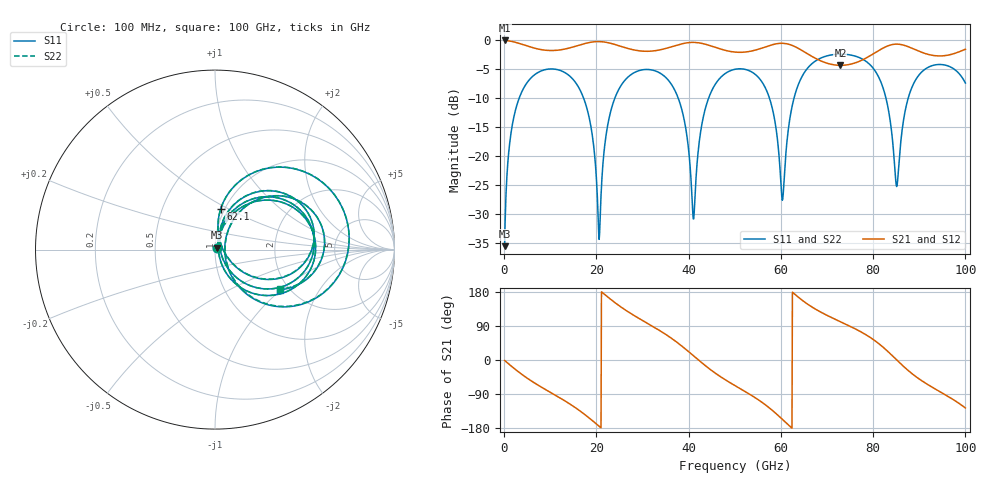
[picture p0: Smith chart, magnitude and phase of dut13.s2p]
! Touchstone file exported from HFSS 2026.1.0
!  File:  C:/ffzhzh/LocalFiles/Ansys_Project_Files/temp_train_TSV_RDL_13_1783437629_34316.aedt
!  Generated:  11:31:58 PM Jul  7, 2026
!  Design:  TSV_RDL
!  Project:  temp_train_TSV_RDL_13_1783437629_34316
! Variables:
!  h_bsmrdl = 4.47um
!  h_ox = 20um
!  h_rdl = 5um
!  h_sub = 82.31um
!  h_tmrdl = 2.99um
!  h_tsv = 82.31um
!  h_via = 3um
!  l_bsmrdl = 318.54um
!  l_sub = 2798.97um
!  l_tmrdl = 323.81um
!  m_sub = 200um
!  pitch = 59.9um
!  r_tsv = 6.9um
!  s_tmrdl = 10um
!  w_bsmrdl = 26.57um
!  w_sub = 500um
!  w_tmrdl = 22.8um
!  x_tsv_center1 = 335.21um
!  x_tsv_center2 = 680.32um
!  x_tsv_center3 = 1026.93um
!  x_tsv_center4 = 1372.04um
!  x_tsv_center5 = 1718.65um
!  x_tsv_center6 = 2063.76um
# GHz S MA R 50.000000
! Terminal data exported
! Port[1] = TM_RDL1_1_T1
! Port[2] = TM_RDL5_1_T1
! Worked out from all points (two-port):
!   1000 points, 100 MHz to 100 GHz, reference 50 ohm
!   highest |S21| = -0.10 dB at 100 MHz (marker M1); lowest = -4.4 dB at 72.9 GHz (marker M2)
!   |S21| within 3 dB of the highest: start of sweep to 67.29 GHz; 78.55 GHz to end of sweep
!   lowest |S11| = -35.6 dB at 100 MHz (marker M3), VSWR 1.03, Z = 51.2 + j1.15 ohm
!   |S11| at or under -10 dB: 17.2 GHz to 24.03 GHz (6.836 GHz wide, 33.2 % of centre); 37.71 GHz to 44.36 GHz (6.653 GHz wide, 16.2 % of centre); 57.49 GHz to 62.87 GHz (5.375 GHz wide, 8.93 % of centre)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
!   |S22| runs from -35.6 to -2.5 dB; largest |S21 - S12| = 1.2e-13
!   S11 on the Smith chart (normalised r, x): 100 MHz: 1.02, +0.02; 62.1 GHz: 0.96, +0.46; 100 GHz: 1.79, -0.97
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0.1  0.01654 42.8  0.988 -1.1  0.988 -1.1  0.01654 42.8
! Gamma 0 0 0 0
! Port Impedance 50 0 50 0
1.6  0.1677 68.0  0.9703 -16.6  0.9703 -16.6  0.1677 68.0
4.5  0.3998 43.6  0.898 -43.7  0.898 -43.7  0.3998 43.6
10.6  0.5603 -0.6  0.8092 -89.4  0.8092 -89.4  0.5603 -0.6
16.8  0.3454 -46.5  0.9126 -137.6  0.9126 -137.6  0.3453 -46.5
19  0.1606 -63.5  0.9563 -158.7  0.9563 -158.7  0.1604 -63.6
20.6  0.01893 4.2  0.9659 -175.0  0.9659 -175.0  0.01845 4.5
24.3  0.3359 55.2  0.9046 148.8  0.9046 148.8  0.3359 55.3
33.4  0.5265 -9.9  0.814 80.1  0.814 80.1  0.5266 -9.8
38.4  0.2601 -47.6  0.9214 37.9  0.9214 37.9  0.2602 -47.6
41.1  0.02851 20.6  0.9505 10.6  0.9505 10.6  0.02765 20.8
44  0.2874 65.6  0.9074 -18.6  0.9074 -18.6  0.2872 66.0
50.1  0.5576 20.9  0.7837 -68.0  0.7837 -68.0  0.5574 21.2
57  0.357 -27.7  0.8787 -121.6  0.8787 -121.6  0.3569 -27.4
60.3  0.04119 17.2  0.9338 -156.3  0.9338 -156.3  0.04229 17.8
62.1  0.2278 82.1  0.9058 -176.6  0.9058 -176.6  0.2282 82.1
66.7  0.621 47.0  0.7208 140.1  0.7208 140.1  0.6212 47.1
72.9  0.7528 10.5  0.6023 101.0  0.6023 101.0  0.7529 10.7
83.4  0.2379 -57.5  0.8936 20.2  0.8936 20.2  0.2384 -56.8
85.1  0.05415 -0.0  0.9185 0.3  0.9185 0.3  0.05629 0.2
89.7  0.4831 38.0  0.8047 -47.7  0.8047 -47.7  0.4833 38.1
100  0.4238 -31.8  0.8298 -126.7  0.8298 -126.7  0.4243 -31.2
